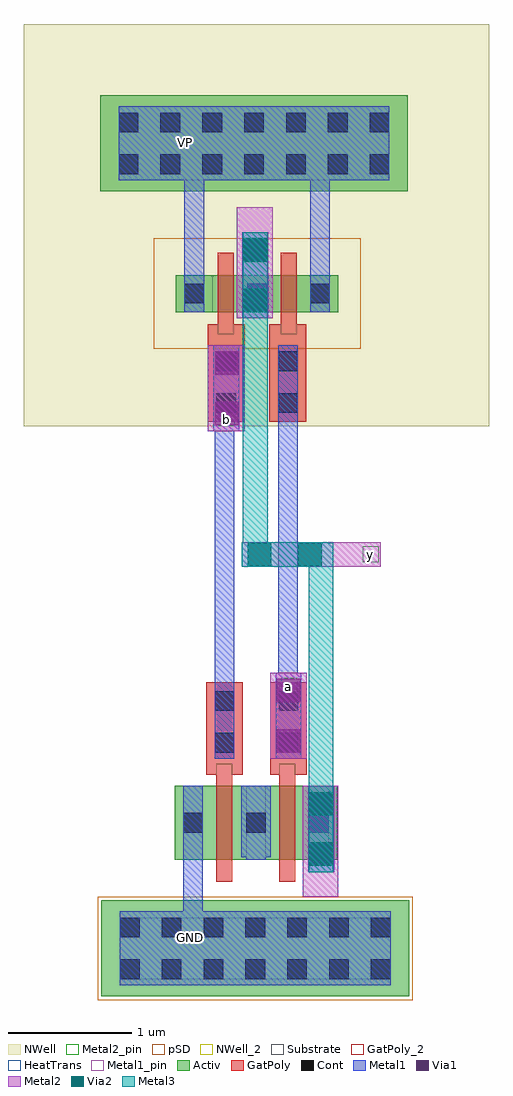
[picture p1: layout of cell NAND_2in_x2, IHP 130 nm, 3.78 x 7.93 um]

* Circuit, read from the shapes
.subckt NAND_2in_x2 GND VP a b y
XM1 n1 b GND GND sg13_lv_nmos w=0.6u l=0.13u
XM2 y a n1 GND sg13_lv_nmos w=0.6u l=0.13u
XM3 y b VP VP sg13_lv_pmos w=0.3u l=0.13u
XM4 VP a y VP sg13_lv_pmos w=0.3u l=0.13u
.ends

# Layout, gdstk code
from math import pi, radians
import gdstk
lib = gdstk.Library(unit=1e-6, precision=1e-09)
def R(c, l, rs):  # rectangles x0, y0, x1, y1
    for r in rs: c.add(gdstk.rectangle(r[:2], r[2:], *l))
def A(c, l, x, y, w, h, nx, ny, dx, dy):  # array of equal rectangles
    R(c, l, [(x+i*dx, y+j*dy, x+i*dx+w, y+j*dy+h) for i in range(nx) for j in range(ny)])
Activ = (1, 0)
GatPoly = (5, 0)
GatPoly_2 = (5, 2)
Cont = (6, 0)
Metal1 = (8, 0)
Metal1_pin = (8, 2)
Metal2 = (10, 0)
Metal2_pin = (10, 2)
pSD = (14, 0)
Via1 = (19, 0)
Via2 = (29, 0)
Metal3 = (30, 0)
NWell = (31, 0)
NWell_2 = (31, 2)
Substrate = (40, 0)
HeatTrans = (51, 0)

ntap1_7 = lib.new_cell('ntap1$7')
R(ntap1_7, Activ, [(0,0,2.5,0.78)])
A(ntap1_7, Cont, 0.15, 0.14, 0.16, 0.16, 7, 2, 0.34, 0.34)
R(ntap1_7, Metal1, [(0.15,0.09,2.35,0.69)])
R(ntap1_7, Metal1_pin, [(0.15,0.09,2.35,0.69), (0.15,0.14,2.35,0.64)])
R(ntap1_7, NWell, [(-0.24,-0.24,2.74,1.02), (0,0,2.5,0.78)])
R(ntap1_7, NWell_2, [(0,0,2.5,0.78)])
ntap1_7.add(gdstk.Label('well', (1.25,0.01), layer=63, texttype=0))
ntap1_7.add(gdstk.Label('well', (1.25,0.01), layer=31, texttype=0))

ptap1_4 = lib.new_cell('ptap1$4')
R(ptap1_4, Activ, [(0,0,2.5,0.78)])
A(ptap1_4, Cont, 0.15, 0.14, 0.16, 0.16, 7, 2, 0.34, 0.34)
R(ptap1_4, Metal1, [(0.15,0.09,2.35,0.69), (0.15,0.14,2.35,0.64)])
R(ptap1_4, Metal1_pin, [(0.15,0.14,2.35,0.64)])
R(ptap1_4, pSD, [(-0.03,-0.03,2.53,0.81)])
R(ptap1_4, Substrate, [(0,0,2.5,0.78)])
ptap1_4.add(gdstk.Label('sub!', (1.25,0.01), layer=63, texttype=0))
ptap1_4.add(gdstk.Label('sub!', (1.25,0.01), layer=40, texttype=0))

via_15_1 = lib.new_cell('Via$15$1')
R(via_15_1, Metal2, [(-0.1,-0.35,0.1,0.35)])
R(via_15_1, Via2, [(-0.095,-0.3,0.095,-0.11), (-0.095,0.11,0.095,0.3)])
R(via_15_1, Metal3, [(-0.1,-0.35,0.1,0.35)])

via_1_1 = lib.new_cell('Via$1$1')
R(via_1_1, Metal1, [(-0.105,-0.35,0.105,0.35)])
R(via_1_1, Metal2, [(-0.1,-0.35,0.1,0.35)])
R(via_1_1, Via1, [(-0.095,-0.3,0.095,-0.11), (-0.095,0.11,0.095,0.3)])

via_2_1 = lib.new_cell('Via$2$1')
R(via_2_1, GatPoly, [(-0.32,-0.15,0.32,0.15)])
R(via_2_1, Cont, [(-0.25,-0.08,-0.09,0.08), (0.09,-0.08,0.25,0.08)])
R(via_2_1, Metal1, [(-0.3,-0.08,0.3,0.08)])

pmos_2_1 = lib.new_cell('pmos$2$1')
A(pmos_2_1, Activ, 0, 0, 0.3, 0.3, 3, 1, 0.51, 0)
R(pmos_2_1, Activ, [(0,0,1.32,0.3)])
R(pmos_2_1, GatPoly, [(0.34,-0.18,0.47,0.48), (0.34,-0.18,0.47,0.48), (0.85,-0.18,0.98,0.48)])
A(pmos_2_1, Cont, 0.07, 0.07, 0.16, 0.16, 3, 1, 0.51, 0)
R(pmos_2_1, Metal1, [(0.07,0,0.23,0.3), (0.07,0,0.23,0.3), (0.58,0,0.74,0.3), (0.58,0,0.74,0.3), (1.09,0,1.25,0.3)])
R(pmos_2_1, pSD, [(-0.18,-0.3,1.5,0.6)])
R(pmos_2_1, NWell, [(-0.31,-0.31,1.63,0.61)])
R(pmos_2_1, Substrate, [(1.02,0,1.32,0.3)])
R(pmos_2_1, HeatTrans, [(0.34,-0.18,0.47,0.48), (0.85,-0.18,0.98,0.48)])
pmos_2_1.add(gdstk.Label('pmos', (0.405,0.15), layer=63, texttype=0))
pmos_2_1.add(gdstk.Label('pmos', (0.405,0.15), layer=51, texttype=0))
pmos_2_1.add(gdstk.Label('pmos', (0.915,0.15), layer=51, texttype=0))

nmos_2_1 = lib.new_cell('nmos$2$1')
A(nmos_2_1, Activ, 0, 0, 0.3, 0.3, 3, 1, 0.51, 0)
R(nmos_2_1, Activ, [(0,0,1.32,0.6)])
R(nmos_2_1, GatPoly, [(0.34,-0.18,0.47,0.78), (0.85,-0.18,0.98,0.78)])
R(nmos_2_1, GatPoly_2, [(0.34,-0.18,0.47,0.78)])
A(nmos_2_1, Cont, 0.07, 0.22, 0.16, 0.16, 3, 1, 0.51, 0)
A(nmos_2_1, Metal1, 0.07, 0, 0.16, 0.6, 3, 1, 0.51, 0)
R(nmos_2_1, Metal1_pin, [(0.07,0,0.23,0.6), (0.58,0,0.74,0.6)])
R(nmos_2_1, HeatTrans, [(0.34,-0.18,0.47,0.78), (0.85,-0.18,0.98,0.78)])
nmos_2_1.add(gdstk.Label('nmos', (0.405,0.3), layer=63, texttype=0))
nmos_2_1.add(gdstk.Label('nmos', (0.405,0.3), layer=51, texttype=0))
nmos_2_1.add(gdstk.Label('nmos', (0.915,0.3), layer=51, texttype=0))

nand_2in_x2 = lib.new_cell('NAND_2in_x2')
R(nand_2in_x2, GatPoly, [(0.63,-2.93,0.93,-2.82), (1.15,-2.93,1.45,-2.82), (0.645,0.58,0.945,0.73), (1.145,0.58,1.445,0.73), (0.725,0.68,0.855,0.77)])
R(nand_2in_x2, Metal1, [(0.445,-4.32,0.605,-3.295), (0.915,-3.6,1.155,-3.34), (0.915,-3.36,1.155,-3.02), (0.7,-2.68,0.86,0.26), (1.215,-2.21,1.375,-1.27), (1.215,-1.31,1.375,-0.37), (1.215,-0.37,1.375,-0.01), (0.455,1.01,0.615,1.15), (0.455,1.115,0.615,1.99), (1.475,1.115,1.635,1.94)])
R(nand_2in_x2, Metal1_pin, [(0.44,-4.32,0.57,-4.19), (0.4,2.15,0.53,2.28)])
R(nand_2in_x2, Metal2, [(1.415,-3.92,1.705,-3.72), (1.415,-3.72,1.705,-3.02), (1.15,-2.8,1.45,-2.1), (1.62,-1.24,2.05,-1.04), (0.645,-0.14,0.945,0.56), (0.88,0.78,1.17,0.98), (0.88,0.98,1.17,1.68)])
R(nand_2in_x2, Metal2_pin, [(1.24,-2.27,1.37,-2.14), (1.905,-1.205,2.035,-1.075), (0.735,-0.1,0.865,0.03)])
R(nand_2in_x2, Metal3, [(1.465,-3.03,1.665,-2.83), (1.465,-2.905,1.665,-1.045), (0.93,-1.09,1.13,0.17), (0.93,0.1,1.13,0.62), (0.93,0.62,1.13,0.72), (0.93,0.71,1.13,0.87)])
R(nand_2in_x2, NWell, [(-0.85,-0.1,2.93,3.17)])
nand_2in_x2.add(gdstk.Reference(ntap1_7, (-0.23,1.81)))
nand_2in_x2.add(gdstk.Reference(ptap1_4, (-0.22,-4.73)))
nand_2in_x2.add(gdstk.Reference(via_15_1, (1.27,-1.14), rotation=3*pi/2))
nand_2in_x2.add(gdstk.Reference(via_1_1, (1.565,-3.37), rotation=pi))
nand_2in_x2.add(gdstk.Reference(via_1_1, (1.3,-2.45), rotation=pi))
nand_2in_x2.add(gdstk.Reference(via_1_1, (0.795,0.21), rotation=pi))
nand_2in_x2.add(gdstk.Reference(via_1_1, (1.03,1.13), rotation=pi))
nand_2in_x2.add(gdstk.Reference(via_2_1, (1.3,-2.5), rotation=3*pi/2))
nand_2in_x2.add(gdstk.Reference(via_2_1, (0.795,0.26), rotation=3*pi/2))
nand_2in_x2.add(gdstk.Reference(via_2_1, (1.295,0.26), rotation=3*pi/2))
nand_2in_x2.add(gdstk.Reference(via_15_1, (1.565,-3.37), rotation=pi))
nand_2in_x2.add(gdstk.Reference(via_15_1, (1.03,1.13), rotation=pi))
nand_2in_x2.add(gdstk.Reference(pmos_2_1, (1.705,1.13), rotation=pi))
nand_2in_x2.add(gdstk.Reference(via_2_1, (0.78,-2.5), rotation=3*pi/2))
nand_2in_x2.add(gdstk.Reference(nmos_2_1, (1.695,-3.02), rotation=pi))
nand_2in_x2.add(gdstk.Label('GND', (0.505,-4.25), layer=8, texttype=25))
nand_2in_x2.add(gdstk.Label('VP', (0.46,2.21), layer=8, texttype=25))
nand_2in_x2.add(gdstk.Label('b', (0.795,-0.04), layer=10, texttype=25))
nand_2in_x2.add(gdstk.Label('a', (1.3,-2.21), layer=10, texttype=25))
nand_2in_x2.add(gdstk.Label('y', (1.97,-1.14), layer=10, texttype=25))

lib.write_gds('NAND_2in_x2.gds')
